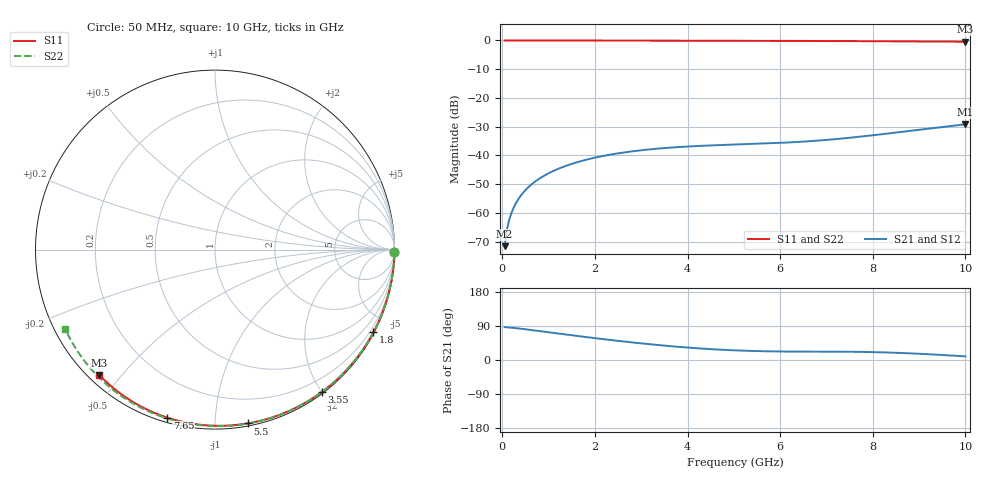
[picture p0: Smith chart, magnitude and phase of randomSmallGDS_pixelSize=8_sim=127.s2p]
! freq	dB(S11)	phase(S11)	dB(S12)	phase(S12)
!  dB(S21)	phase(S21)	dB(S22)	phase(S22)
!S-par simulation data
#  GHz  S  DB  R 50
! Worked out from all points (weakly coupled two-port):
!   200 points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, 50 MHz to 10 GHz, reference 50 ohm
!   highest |S21| = -29.18 dB at 10 GHz (marker M1); lowest = -71.6 dB at 50 MHz (marker M2)
!   lowest |S11| = -0.4 dB at 10 GHz (marker M3), VSWR 39.46, Z = 1.51 - j21.9 ohm
!   |S11| at or under -10 dB: nowhere
!   |S22| runs from -0.5 to 0.0 dB; largest |S21 - S12| = 0
!   S11 on the Smith chart (normalised r, x): 50 MHz: open; 1.8 GHz: 0.04, -4.08; 3.55 GHz: 0.02, -2.00; 5.5 GHz: 0.02, -1.20; 7.65 GHz: 0.02, -0.75; 10 GHz: 0.03, -0.44
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0.05  -0.00 -0.8  -71.58 87.1  -71.58 87.1  -0.00 -0.9
0.1  -0.00 -1.6  -65.78 86.2  -65.78 86.2  -0.00 -1.8
0.15  -0.00 -2.3  -62.37 85.7  -62.37 85.7  -0.00 -2.7
0.2  -0.00 -3.1  -59.92 85.2  -59.92 85.2  -0.00 -3.6
0.25  -0.00 -3.9  -58.02 84.6  -58.02 84.6  -0.00 -4.5
0.35  -0.00 -5.4  -55.13 83.3  -55.13 83.3  -0.00 -6.3
0.5  -0.01 -7.8  -52.07 81.1  -52.07 81.1  -0.01 -9.0
0.7  -0.01 -10.9  -49.21 77.9  -49.21 77.9  -0.01 -12.6
1  -0.02 -15.4  -46.21 73.2  -46.21 73.2  -0.02 -18.0
1.35  -0.03 -20.8  -43.77 67.6  -43.77 67.6  -0.03 -24.1
1.75  -0.03 -26.8  -41.76 61.4  -41.76 61.4  -0.04 -31.1
1.8  -0.04 -27.6  -41.55 60.7  -41.55 60.7  -0.04 -32.0
2.5  -0.05 -37.9  -39.28 50.5  -39.28 50.5  -0.06 -44.0
3.4  -0.07 -50.9  -37.57 39.1  -37.57 39.1  -0.08 -58.9
3.55  -0.07 -53.1  -37.38 37.4  -37.38 37.4  -0.08 -61.3
4.3  -0.09 -63.5  -36.66 30.2  -36.66 30.2  -0.10 -73.2
5.05  -0.11 -73.5  -36.20 25.3  -36.20 25.3  -0.13 -84.6
5.5  -0.13 -79.4  -35.96 23.5  -35.96 23.5  -0.15 -91.2
6.7  -0.18 -94.5  -34.98 22.1  -34.98 22.1  -0.21 -108.2
7.65  -0.24 -105.9  -33.61 21.5  -33.61 21.5  -0.27 -121.2
8.35  -0.29 -114.1  -32.34 19.7  -32.34 19.7  -0.33 -130.5
10  -0.44 -132.7  -29.18 9.6  -29.18 9.6  -0.50 -152.2
